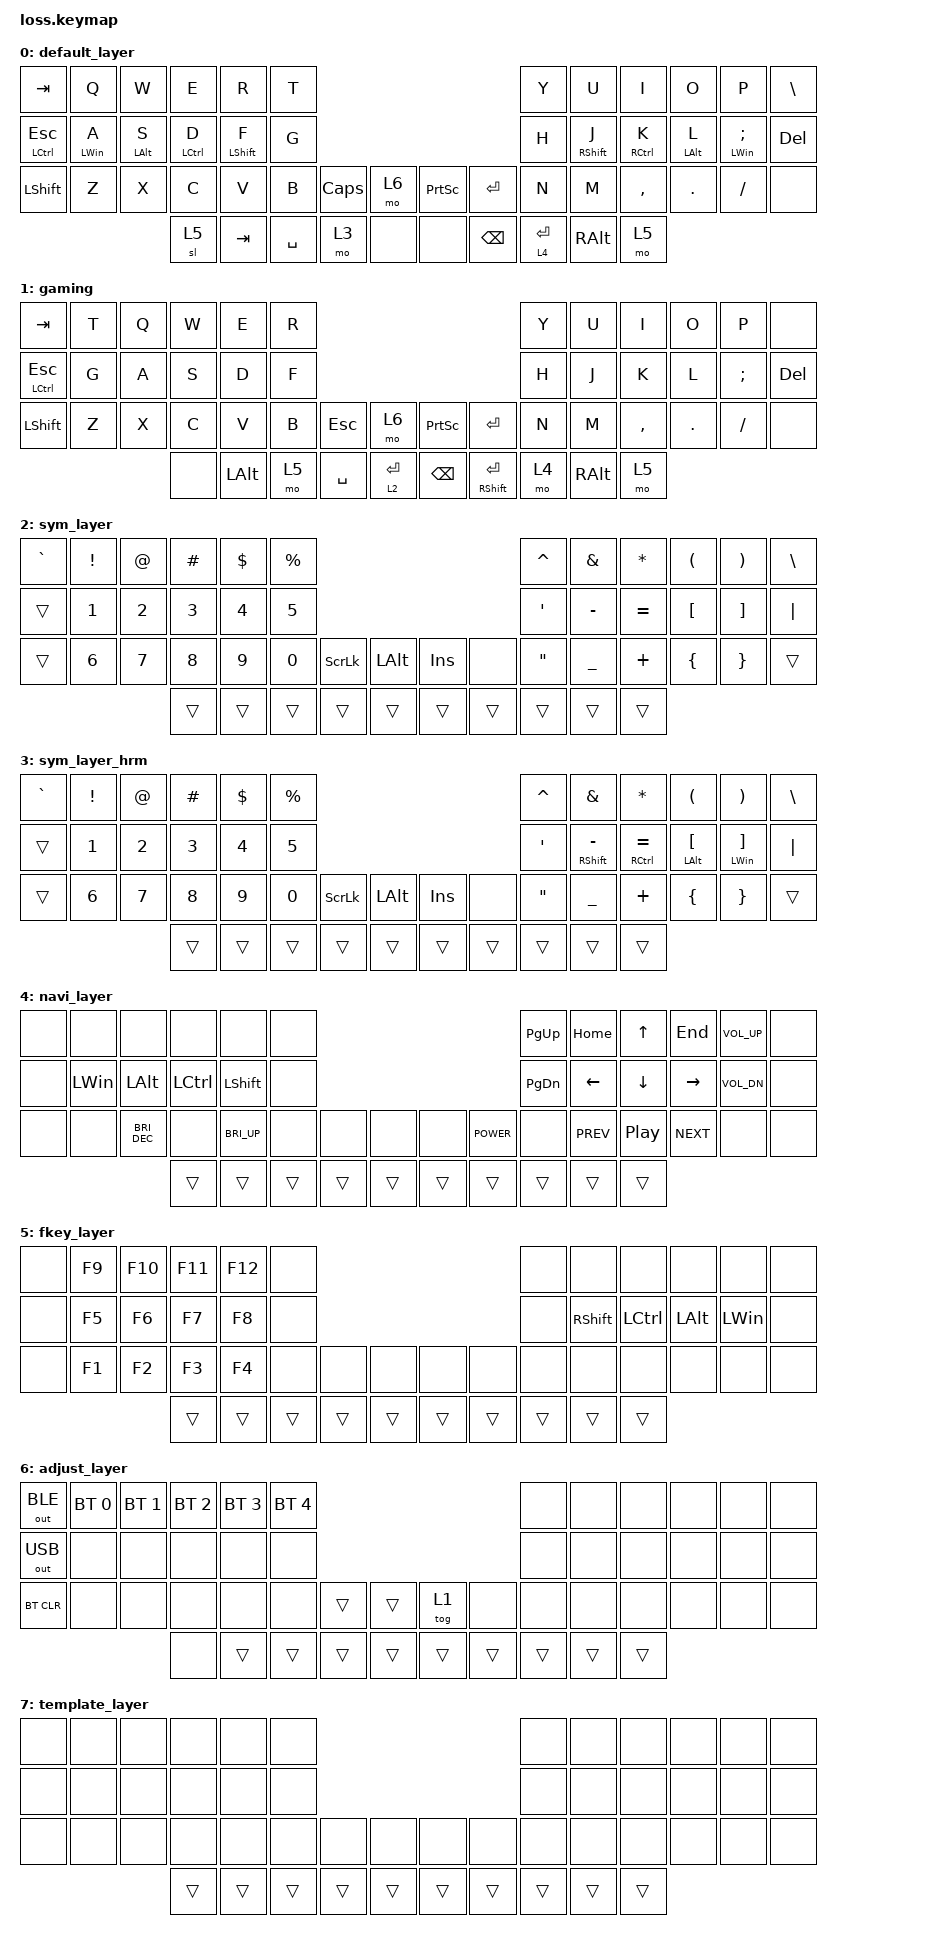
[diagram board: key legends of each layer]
#include <behaviors.dtsi>
#include <dt-bindings/zmk/bt.h>
#include <dt-bindings/zmk/keys.h>
#include <dt-bindings/zmk/outputs.h>

#define DEFAULT 0
#define TEST    1
#define SYM     2
#define NAVI    3
#define FKEYS   4
#define ADJUST  5

/ {
    behaviors {
        hm: homerow_mods {
            compatible = "zmk,behavior-hold-tap";
            #binding-cells = <2>;
            tapping-term-ms = <175>;    // <---[[moderate duration]]
            quick-tap-ms = <200>;
            flavor = "tap-preferred";
            bindings = <&kp>, <&kp>;
        };

        copy: copy {
            compatible = "zmk,behavior-tap-dance";
            #binding-cells = <0>;
            bindings = <&kp C>, <&kp LC(C)>;
        };

        paste: paste {
            compatible = "zmk,behavior-tap-dance";
            #binding-cells = <0>;
            bindings = <&kp V>, <&kp LC(V)>;
        };

        slow_hm: slow_hm {
            compatible = "zmk,behavior-hold-tap";
            #binding-cells = <2>;
            tapping-term-ms = <225>;
            quick-tap-ms = <225>;
            flavor = "tap-preferred";
            bindings = <&kp>, <&kp>;
        };

        lt_nav: lt_nav {
            compatible = "zmk,behavior-hold-tap";
            #binding-cells = <2>;
            tapping-term-ms = <200>;
            quick-tap-ms = <175>;
            flavor = "hold-preferred";
            bindings = <&mo>, <&kp>;
        };

        tap_dance_mod_tap: tap_dance_mod_tap {
            compatible = "zmk,behavior-tap-dance";
            #binding-cells = <0>;
            bindings = <&mo 2>, <&layer_modifier 2 LCTRL>;

            tapping-term-ms = <200>;
        };
    };

    macros {
        layer_modifier: layer_modifier {
            compatible = "zmk,behavior-macro-two-param";
            #binding-cells = <2>;
            bindings =
                <&macro_param_1to1 &mo MACRO_PLACEHOLDER &macro_param_2to1 &kp MACRO_PLACEHOLDER>,
                <&macro_pause_for_release>,
                <&macro_param_2to1 &kp MACRO_PLACEHOLDER &macro_param_1to1 &mo MACRO_PLACEHOLDER>;

            wait-ms = <0>;
            tap-ms = <0>;
        };
    };

    keymap {
        compatible = "zmk,keymap";

        default_layer {
            //  ┌╌╌╌╌╌╌┬╌╌╌╌╌╌┬╌╌╌╌╌╌┬╌╌╌╌╌╌┬╌╌╌╌╌╌┬╌╌╌╌╌╌┐                              ┌╌╌╌╌╌╌┬╌╌╌╌╌╌┬╌╌╌╌╌╌┬╌╌╌╌╌╌┬╌╌╌╌╌╌┬╌╌╌╌╌╌┐
            //  ┆ TAB  ┆  Q   ┆  W   ┆  E   ┆  R   ┆  T   ┆                              ┆  Y   ┆  U   ┆  I   ┆  O   ┆  P   ┆      ┆
            //  ┆      ┆      ┆      ┆      ┆      ┆      ┆                              ┆      ┆      ┆      ┆      ┆      ┆      ┆
            //  ├╌╌╌╌╌╌╔══════╦══════╦══════╦══════╗╌╌╌╌╌╌┤                              ├╌╌╌╌╌╌╔══════╦══════╦══════╦══════╗╌╌╌╌╌╌┤
            //  ┆ CTRL ║  A   ║  S   ║  D   ║  F   ║  G   ┆                              ┆  H   ║  J   ║  K   ║  L   ║  ;   ║ DEL  ┆
            //  ┆ ESC  ║      ║      ║      ║      ║      ┆                              ┆      ║      ║      ║      ║  :   ║      ┆
            //  ├╌╌╌╌╌╌╚══════╩══════╩══════╩══════╝╌╌╌╌╌╌┼╌╌╌╌╌╌┬╌╌╌╌╌╌┐  ┌╌╌╌╌╌╌┬╌╌╌╌╌╌┼╌╌╌╌╌╌╚══════╩══════╩══════╩══════╝╌╌╌╌╌╌┤
            //  ┆ SHIFT┆  Z   ┆  X   ┆  C   ┆  V   ┆  B   ┆CAPS  ┆ADJUST┆  ┆PRINT ┆  RET ┆  N   ┆  M   ┆  <   ┆  >   ┆  ?   ┆      ┆
            //  ┆      ┆      ┆      ┆      ┆      ┆      ┆  LOCK┆      ┆  ┆SCREEN┆      ┆      ┆      ┆  ,   ┆  .   ┆  /   ┆      ┆
            //  └╌╌╌╌╌╌┴╌╌╌╌╌╌┴╌╌╌╌╌╌┼╌╌╌╌╌╌┼╌╌╌╌╌╌┼╌╌╌╌╌╌┼╌╌╌╌╌╌┼╌╌╌╌╌╌┆  ┆╌╌╌╌╌╌┼╌╌╌╌╌╌┼╌╌╌╌╌╌┼╌╌╌╌╌╌┼╌╌╌╌╌╌┼╌╌╌╌╌╌┴╌╌╌╌╌╌┴╌╌╌╌╌╌┘
            //                       ┆ FKEYS┆  GUI ┆ LALT ┆ CTRL ┆  SYM ┆  ┆ BSPC ┆ SHIFT┆ NAVI ┆ RALT ┆ FKEYS┆
            //                       ┆      ┆      ┆ TAB  ┆ SPACE┆      ┆  ┆      ┆  RET ┆      ┆      ┆      ┆
            //                       └╌╌╌╌╌╌┴╌╌╌╌╌╌┴╌╌╌╌╌╌┴╌╌╌╌╌╌┴╌╌╌╌╌╌┘  └╌╌╌╌╌╌┴╌╌╌╌╌╌┴╌╌╌╌╌╌┴╌╌╌╌╌╌┴╌╌╌╌╌╌┘

            bindings = <
&kp TAB        &kp Q            &kp W                &kp E        &kp R         &kp T                                            &kp Y  &kp U         &kp I        &kp O                &kp P                    &kp BACKSLASH
&mt LCTRL ESC  &slow_hm LWIN A  &slow_hm LEFT_ALT S  &hm LCTRL D  &hm LSHIFT F  &kp G                                            &kp H  &hm RSHIFT J  &hm RCTRL K  &slow_hm LEFT_ALT L  &slow_hm LWIN SEMICOLON  &kp DEL
&kp LSHFT      &kp Z            &kp X                &kp C        &kp V         &kp B    &kp CLCK   &mo 6  &kp PSCRN  &kp RET    &kp N  &kp M         &kp COMMA    &kp DOT              &kp FSLH                 &none
                                                     &sl 5        &kp TAB       &kp SPACE  &mo 3  &none  &none   &kp BSPC   &lt_nav 4 ENTER  &kp RALT      &mo 5
            >;
        };

        gaming {
            //  ┌╌╌╌╌╌╌┬╌╌╌╌╌╌┬╌╌╌╌╌╌┬╌╌╌╌╌╌┬╌╌╌╌╌╌┬╌╌╌╌╌╌┐                              ┌╌╌╌╌╌╌┬╌╌╌╌╌╌┬╌╌╌╌╌╌┬╌╌╌╌╌╌┬╌╌╌╌╌╌┬╌╌╌╌╌╌┐
            //  ┆ TAB  ┆  T   ┆  Q   ┆  W   ┆  E   ┆  R   ┆                              ┆  Y   ┆  U   ┆  I   ┆  O   ┆  P   ┆      ┆
            //  ┆      ┆      ┆      ┆      ┆      ┆      ┆                              ┆      ┆      ┆      ┆      ┆      ┆      ┆
            //  ├╌╌╌╌╌╌╔══════╦══════╦══════╦══════╗╌╌╌╌╌╌┤                              ├╌╌╌╌╌╌╔══════╦══════╦══════╦══════╗╌╌╌╌╌╌┤
            //  ┆ CTRL ║  G   ║  A   ║  S   ║  D   ║  F   ┆                              ┆  H   ║  J   ║  K   ║  L   ║  ;   ║ DEL  ┆
            //  ┆ ESC  ║      ║      ║      ║      ║      ┆                              ┆      ║      ║      ║      ║  :   ║      ┆
            //  ├╌╌╌╌╌╌╚══════╩══════╩══════╩══════╝╌╌╌╌╌╌┼╌╌╌╌╌╌┬╌╌╌╌╌╌┐  ┌╌╌╌╌╌╌┬╌╌╌╌╌╌┼╌╌╌╌╌╌╚══════╩══════╩══════╩══════╝╌╌╌╌╌╌┤
            //  ┆ SHIFT┆  Z   ┆  X   ┆  C   ┆  V   ┆  B   ┆CAPS  ┆ADJUST┆  ┆PRINT ┆  RET ┆  N   ┆  M   ┆  <   ┆  >   ┆  ?   ┆      ┆
            //  ┆      ┆      ┆      ┆      ┆      ┆      ┆  LOCK┆      ┆  ┆SCREEN┆      ┆      ┆      ┆  ,   ┆  .   ┆  /   ┆      ┆
            //  └╌╌╌╌╌╌┴╌╌╌╌╌╌┴╌╌╌╌╌╌┼╌╌╌╌╌╌┼╌╌╌╌╌╌┼╌╌╌╌╌╌┼╌╌╌╌╌╌┼╌╌╌╌╌╌┆  ┆╌╌╌╌╌╌┼╌╌╌╌╌╌┼╌╌╌╌╌╌┼╌╌╌╌╌╌┼╌╌╌╌╌╌┼╌╌╌╌╌╌┴╌╌╌╌╌╌┴╌╌╌╌╌╌┘
            //                       ┆ FKEYS┆      ┆ LALT ┆ CTRL ┆  SYM ┆  ┆ BSPC ┆ SHIFT┆ NAVI ┆ RALT ┆ FKEYS┆
            //                       ┆      ┆      ┆      ┆      ┆  RET ┆  ┆      ┆  RET ┆      ┆      ┆      ┆
            //                       └╌╌╌╌╌╌┴╌╌╌╌╌╌┴╌╌╌╌╌╌┴╌╌╌╌╌╌┴╌╌╌╌╌╌┘  └╌╌╌╌╌╌┴╌╌╌╌╌╌┴╌╌╌╌╌╌┴╌╌╌╌╌╌┴╌╌╌╌╌╌┘

            bindings = <
&kp TAB        &kp T  &kp Q  &kp W  &kp E     &kp R                                                    &kp Y  &kp U     &kp I      &kp O    &kp P     &none
&mt LCTRL ESC  &kp G  &kp A  &kp S  &kp D     &kp F                                                    &kp H  &kp J     &kp K      &kp L    &kp SEMI  &kp DEL
&kp LSHFT      &kp Z  &kp X  &kp C  &kp V     &kp B  &kp ESCAPE  &mo 6      &kp PSCRN  &kp RET         &kp N  &kp M     &kp COMMA  &kp DOT  &kp FSLH  &none
                             &none  &kp LALT  &mo 5  &kp SPACE   &lt 2 RET  &kp BSPC   &mt RSHIFT RET  &mo 4  &kp RALT  &mo 5
            >;
        };

        sym_layer {
            //  ┌╌╌╌╌╌╌┬╌╌╌╌╌╌┬╌╌╌╌╌╌┬╌╌╌╌╌╌┬╌╌╌╌╌╌┬╌╌╌╌╌╌┐                              ┌╌╌╌╌╌╌┬╌╌╌╌╌╌┬╌╌╌╌╌╌┬╌╌╌╌╌╌┬╌╌╌╌╌╌┬╌╌╌╌╌╌┐
            //  ┆   ~  ┆  !   ┆  @   ┆  #   ┆  $   ┆  %   ┆                              ┆  ^   ┆  &   ┆  *   ┆  (   ┆  )   ┆  \   ┆
            //  ┆   `  ┆      ┆      ┆      ┆      ┆      ┆                              ┆      ┆      ┆      ┆      ┆      ┆      ┆
            //  ├╌╌╌╌╌╌╔══════╦══════╦══════╦══════╗╌╌╌╌╌╌┤                              ├╌╌╌╌╌╌╔══════╦══════╦══════╦══════╗╌╌╌╌╌╌┤
            //  ┆      ║      ║      ║      ║      ║      ┆                              ┆      ║      ║      ║      ║      ║      ┆
            //  ┆      ║  1   ║  2   ║  3   ║  4   ║  5   ┆                              ┆  '   ║  -   ║  =   ║  [   ║  ]   ║  |   ┆
            //  ├╌╌╌╌╌╌╚══════╩══════╩══════╩══════╝╌╌╌╌╌╌┼╌╌╌╌╌╌┬╌╌╌╌╌╌┐  ┌╌╌╌╌╌╌┬╌╌╌╌╌╌┼╌╌╌╌╌╌╚══════╩══════╩══════╩══════╝╌╌╌╌╌╌┤
            //  ┆      ┆      ┆      ┆      ┆      ┆      ┆SCROLL┆      ┆  ┆INSERT┆      ┆      ┆      ┆      ┆      ┆      ┆      ┆
            //  ┆      ┆  6   ┆  7   ┆  8   ┆  9   ┆  0   ┆  LOCK┆ LALT ┆  ┆      ┆      ┆  "   ┆  _   ┆  +   ┆  {   ┆  }   ┆      ┆
            //  └╌╌╌╌╌╌┴╌╌╌╌╌╌┴╌╌╌╌╌╌┼╌╌╌╌╌╌┼╌╌╌╌╌╌┼╌╌╌╌╌╌┼╌╌╌╌╌╌┼╌╌╌╌╌╌┆  ┆╌╌╌╌╌╌┼╌╌╌╌╌╌┼╌╌╌╌╌╌┼╌╌╌╌╌╌┼╌╌╌╌╌╌┼╌╌╌╌╌╌┴╌╌╌╌╌╌┴╌╌╌╌╌╌┘
            //                       ┆      ┆      ┆      ┆      ┆      ┆  ┆      ┆      ┆      ┆      ┆      ┆
            //                       ┆      ┆      ┆      ┆      ┆      ┆  ┆      ┆      ┆      ┆      ┆      ┆
            //                       └╌╌╌╌╌╌┴╌╌╌╌╌╌┴╌╌╌╌╌╌┴╌╌╌╌╌╌┴╌╌╌╌╌╌┘  └╌╌╌╌╌╌┴╌╌╌╌╌╌┴╌╌╌╌╌╌┴╌╌╌╌╌╌┴╌╌╌╌╌╌┘

            bindings = <
&kp GRAV  &kp EXCL  &kp AT  &kp HASH  &kp DLLR  &kp PRCNT                                          &kp CARET  &kp AMPS        &kp STAR   &kp LPAR  &kp RPAR  &kp BSLH
&trans    &kp N1    &kp N2  &kp N3    &kp N4    &kp N5                                             &kp SQT    &kp MINUS       &kp EQUAL  &kp LBKT  &kp RBKT  &kp PIPE
&trans    &kp N6    &kp N7  &kp N8    &kp N9    &kp N0     &kp SLCK  &kp LALT  &kp INSERT  &none   &kp DQT    &kp UNDERSCORE  &kp PLUS   &kp LBRC  &kp RBRC  &trans
                            &trans    &trans    &trans     &trans    &trans    &trans      &trans  &trans     &trans          &trans
            >;
        };

        sym_layer_hrm {
            bindings = <
&kp GRAV  &kp EXCL  &kp AT  &kp HASH  &kp DLLR  &kp PRCNT                                          &kp CARET  &kp AMPS               &kp STAR         &kp LPAR            &kp RPAR            &kp BSLH
&trans    &kp N1    &kp N2  &kp N3    &kp N4    &kp N5                                             &kp SQT    &hm RIGHT_SHIFT MINUS  &hm RCTRL EQUAL  &slow_hm LALT LBKT  &slow_hm LWIN RBKT  &kp PIPE
&trans    &kp N6    &kp N7  &kp N8    &kp N9    &kp N0     &kp SLCK  &kp LALT  &kp INSERT  &none   &kp DQT    &kp UNDERSCORE         &kp PLUS         &kp LBRC            &kp RBRC            &trans
                            &trans    &trans    &trans     &trans    &trans    &trans      &trans  &trans     &trans                 &trans
            >;
        };

        navi_layer {
            //  ┌╌╌╌╌╌╌┬╌╌╌╌╌╌┬╌╌╌╌╌╌┬╌╌╌╌╌╌┬╌╌╌╌╌╌┬╌╌╌╌╌╌┐                              ┌╌╌╌╌╌╌┬╌╌╌╌╌╌┬╌╌╌╌╌╌┬╌╌╌╌╌╌┬╌╌╌╌╌╌┬╌╌╌╌╌╌┐
            //  ┆      ┆      ┆      ┆      ┆      ┆      ┆                              ┆ PGUP ┆ HOME ┆  ⬆   ┆ END  ┆VOL UP┆      ┆
            //  ┆      ┆      ┆      ┆      ┆      ┆      ┆                              ┆      ┆      ┆      ┆      ┆      ┆      ┆
            //  ├╌╌╌╌╌╌╔══════╦══════╦══════╦══════╗╌╌╌╌╌╌┤                              ├╌╌╌╌╌╌╔══════╦══════╦══════╦══════╗╌╌╌╌╌╌┤
            //  ┆      ║ SHIFT║ CTRL ║ GUI  ║ ALT  ║      ┆                              ┆ PGDN ║  ⬅   ║  ⬇   ║  ➡   ║VOL DN║      ┆
            //  ┆      ║      ║      ║      ║      ║      ┆                              ┆      ║      ║      ║      ║      ║      ┆
            //  ├╌╌╌╌╌╌╚══════╩══════╩══════╩══════╝╌╌╌╌╌╌┼╌╌╌╌╌╌┬╌╌╌╌╌╌┐  ┌╌╌╌╌╌╌┬╌╌╌╌╌╌┼╌╌╌╌╌╌╚══════╩══════╩══════╩══════╝╌╌╌╌╌╌┤
            //  ┆      ┆      ┆      ┆BRIGHT┆BRIGHT┆      ┆      ┆      ┆  ┆      ┆      ┆      ┆MPREV ┆MPAUSE┆MNEXT ┆      ┆      ┆
            //  ┆      ┆      ┆      ┆  DOWN┆   UP ┆      ┆      ┆      ┆  ┆      ┆      ┆      ┆      ┆      ┆      ┆      ┆      ┆
            //  └╌╌╌╌╌╌┴╌╌╌╌╌╌┴╌╌╌╌╌╌┼╌╌╌╌╌╌┼╌╌╌╌╌╌┼╌╌╌╌╌╌┼╌╌╌╌╌╌┼╌╌╌╌╌╌┆  ┆╌╌╌╌╌╌┼╌╌╌╌╌╌┼╌╌╌╌╌╌┼╌╌╌╌╌╌┼╌╌╌╌╌╌┼╌╌╌╌╌╌┴╌╌╌╌╌╌┴╌╌╌╌╌╌┘
            //                       ┆      ┆      ┆      ┆      ┆      ┆  ┆      ┆      ┆      ┆      ┆      ┆
            //                       ┆      ┆      ┆      ┆      ┆      ┆  ┆      ┆      ┆      ┆      ┆      ┆
            //                       └╌╌╌╌╌╌┴╌╌╌╌╌╌┴╌╌╌╌╌╌┴╌╌╌╌╌╌┴╌╌╌╌╌╌┘  └╌╌╌╌╌╌┴╌╌╌╌╌╌┴╌╌╌╌╌╌┴╌╌╌╌╌╌┴╌╌╌╌╌╌┘

            bindings = <
&none  &none     &none                 &none      &none           &none                                        &kp PG_UP  &kp HOME    &kp UP    &kp END     &kp C_VOL_UP  &none
&none  &kp LWIN  &kp LEFT_ALT          &kp LCTRL  &kp LEFT_SHIFT  &none                                        &kp PG_DN  &kp LEFT    &kp DOWN  &kp RIGHT   &kp C_VOL_DN  &none
&none  &none     &kp C_BRIGHTNESS_DEC  &none      &kp C_BRI_UP    &none   &none   &none   &none   &kp C_POWER  &none      &kp C_PREV  &kp C_PP  &kp C_NEXT  &none         &none
                                       &trans     &trans          &trans  &trans  &trans  &trans  &trans       &trans     &trans      &trans
            >;
        };

        fkey_layer {
            //  ┌╌╌╌╌╌╌┬╌╌╌╌╌╌┬╌╌╌╌╌╌┬╌╌╌╌╌╌┬╌╌╌╌╌╌┬╌╌╌╌╌╌┐                              ┌╌╌╌╌╌╌┬╌╌╌╌╌╌┬╌╌╌╌╌╌┬╌╌╌╌╌╌┬╌╌╌╌╌╌┬╌╌╌╌╌╌┐
            //  ┆      ┆  F9  ┆ F10  ┆  F11 ┆ F12  ┆      ┆                              ┆      ┆      ┆      ┆      ┆      ┆      ┆
            //  ┆      ┆      ┆      ┆      ┆      ┆      ┆                              ┆      ┆      ┆      ┆      ┆      ┆      ┆
            //  ├╌╌╌╌╌╌╔══════╦══════╦══════╦══════╗╌╌╌╌╌╌┤                              ├╌╌╌╌╌╌╔══════╦══════╦══════╦══════╗╌╌╌╌╌╌┤
            //  ┆      ║  F5  ║  F6  ║  F7  ║  F8  ║      ┆                              ┆      ║ ALT  ║ GUI  ║ CTRL ║SHIFT ║      ┆
            //  ┆      ║      ║      ║      ║      ║      ┆                              ┆      ║      ║      ║      ║      ║      ┆
            //  ├╌╌╌╌╌╌╚══════╩══════╩══════╩══════╝╌╌╌╌╌╌┼╌╌╌╌╌╌┬╌╌╌╌╌╌┐  ┌╌╌╌╌╌╌┬╌╌╌╌╌╌┼╌╌╌╌╌╌╚══════╩══════╩══════╩══════╝╌╌╌╌╌╌┤
            //  ┆      ┆  F1  ┆  F2  ┆  F3  ┆  F4  ┆      ┆      ┆      ┆  ┆      ┆      ┆      ┆      ┆      ┆      ┆      ┆      ┆
            //  ┆      ┆      ┆      ┆      ┆      ┆      ┆      ┆      ┆  ┆      ┆      ┆      ┆      ┆      ┆      ┆      ┆      ┆
            //  └╌╌╌╌╌╌┴╌╌╌╌╌╌┴╌╌╌╌╌╌┼╌╌╌╌╌╌┼╌╌╌╌╌╌┼╌╌╌╌╌╌┼╌╌╌╌╌╌┼╌╌╌╌╌╌┆  ┆╌╌╌╌╌╌┼╌╌╌╌╌╌┼╌╌╌╌╌╌┼╌╌╌╌╌╌┼╌╌╌╌╌╌┼╌╌╌╌╌╌┴╌╌╌╌╌╌┴╌╌╌╌╌╌┘
            //                       ┆      ┆      ┆      ┆      ┆      ┆  ┆      ┆      ┆      ┆      ┆      ┆
            //                       ┆      ┆      ┆      ┆      ┆      ┆  ┆      ┆      ┆      ┆      ┆      ┆
            //                       └╌╌╌╌╌╌┴╌╌╌╌╌╌┴╌╌╌╌╌╌┴╌╌╌╌╌╌┴╌╌╌╌╌╌┘  └╌╌╌╌╌╌┴╌╌╌╌╌╌┴╌╌╌╌╌╌┴╌╌╌╌╌╌┴╌╌╌╌╌╌┘

            bindings = <
&none  &kp F9  &kp F10  &kp F11  &kp F12  &none                                   &none   &none       &none      &none         &none     &none
&none  &kp F5  &kp F6   &kp F7   &kp F8   &none                                   &none   &kp RSHIFT  &kp LCTRL  &kp LEFT_ALT  &kp LWIN  &none
&none  &kp F1  &kp F2   &kp F3   &kp F4   &none   &none   &none   &none   &none   &none   &none       &none      &none         &none     &none
                        &trans   &trans   &trans  &trans  &trans  &trans  &trans  &trans  &trans      &trans
            >;
        };

        adjust_layer {
            //  ┌╌╌╌╌╌╌┬╌╌╌╌╌╌┬╌╌╌╌╌╌┬╌╌╌╌╌╌┬╌╌╌╌╌╌┬╌╌╌╌╌╌┐                              ┌╌╌╌╌╌╌┬╌╌╌╌╌╌┬╌╌╌╌╌╌┬╌╌╌╌╌╌┬╌╌╌╌╌╌┬╌╌╌╌╌╌┐
            //  ┆  BLE ┆  BT0 ┆  BT1 ┆  BT2 ┆  BT3 ┆  BT4 ┆                              ┆      ┆      ┆      ┆      ┆      ┆      ┆
            //  ┆      ┆      ┆      ┆      ┆      ┆      ┆                              ┆      ┆      ┆      ┆      ┆      ┆      ┆
            //  ├╌╌╌╌╌╌╔══════╦══════╦══════╦══════╗╌╌╌╌╌╌┤                              ├╌╌╌╌╌╌╔══════╦══════╦══════╦══════╗╌╌╌╌╌╌┤
            //  ┆  USB ║      ║      ║      ║      ║      ┆                              ┆      ║      ║      ║      ║      ║      ┆
            //  ┆      ║      ║      ║      ║      ║      ┆                              ┆      ║      ║      ║      ║      ║      ┆
            //  ├╌╌╌╌╌╌╚══════╩══════╩══════╩══════╝╌╌╌╌╌╌┼╌╌╌╌╌╌┬╌╌╌╌╌╌┐  ┌╌╌╌╌╌╌┬╌╌╌╌╌╌┼╌╌╌╌╌╌╚══════╩══════╩══════╩══════╝╌╌╌╌╌╌┤
            //  ┆BT_CLR┆      ┆      ┆      ┆      ┆      ┆      ┆      ┆  ┆ TEST ┆      ┆      ┆      ┆      ┆      ┆      ┆      ┆
            //  ┆      ┆      ┆      ┆      ┆      ┆      ┆      ┆      ┆  ┆      ┆      ┆      ┆      ┆      ┆      ┆      ┆      ┆
            //  └╌╌╌╌╌╌┴╌╌╌╌╌╌┴╌╌╌╌╌╌┼╌╌╌╌╌╌┼╌╌╌╌╌╌┼╌╌╌╌╌╌┼╌╌╌╌╌╌┼╌╌╌╌╌╌┆  ┆╌╌╌╌╌╌┼╌╌╌╌╌╌┼╌╌╌╌╌╌┼╌╌╌╌╌╌┼╌╌╌╌╌╌┼╌╌╌╌╌╌┴╌╌╌╌╌╌┴╌╌╌╌╌╌┘
            //                       ┆      ┆      ┆      ┆      ┆      ┆  ┆      ┆      ┆      ┆      ┆      ┆
            //                       ┆      ┆      ┆      ┆      ┆      ┆  ┆      ┆      ┆      ┆      ┆      ┆
            //                       └╌╌╌╌╌╌┴╌╌╌╌╌╌┴╌╌╌╌╌╌┴╌╌╌╌╌╌┴╌╌╌╌╌╌┘  └╌╌╌╌╌╌┴╌╌╌╌╌╌┴╌╌╌╌╌╌┴╌╌╌╌╌╌┴╌╌╌╌╌╌┘

            bindings = <
&out OUT_BLE  &bt BT_SEL 0  &bt BT_SEL 1  &bt BT_SEL 2  &bt BT_SEL 3  &bt BT_SEL 4                                  &none   &none   &none   &none  &none  &none
&out OUT_USB  &none         &none         &none         &none         &none                                         &none   &none   &none   &none  &none  &none
&bt BT_CLR    &none         &none         &none         &none         &none         &trans  &trans  &tog 1  &none   &none   &none   &none   &none  &none  &none
                                          &none         &trans        &trans        &trans  &trans  &trans  &trans  &trans  &trans  &trans
            >;
        };

        template_layer {
            //  ┌╌╌╌╌╌╌╌╌╌╌╌╌╌╌╌╌╌╌╌╌╌╌╌╌╌╌╌╌╌╌╌╌╌╌╌╌╌╌╌╌╌┐                              ┌╌╌╌╌╌╌╌╌╌╌╌╌╌╌╌╌╌╌╌╌╌╌╌╌╌╌╌╌╌╌╌╌╌╌╌╌╌╌╌╌╌┐
            //  ┆      ┆      ┆      ┆      ┆      ┆      ┆                              ┆      ┆      ┆      ┆      ┆      ┆      ┆
            //  ┆      ┆      ┆      ┆      ┆      ┆      ┆                              ┆      ┆      ┆      ┆      ┆      ┆      ┆
            //  ├╌╌╌╌╌╌╔══════╦══════╦══════╦══════╗╌╌╌╌╌╌┤                              ├╌╌╌╌╌╌╔══════╦══════╦══════╦══════╗╌╌╌╌╌╌┤
            //  ┆      ║      ║      ║      ║      ║      ┆                              ┆      ║      ║      ║      ║      ║      ┆
            //  ┆      ║      ║      ║      ║      ║      ┆                              ┆      ║      ║      ║      ║      ║      ┆
            //  ├╌╌╌╌╌╌╚══════╩══════╩══════╩══════╝╌╌╌╌╌╌┼╌╌╌╌╌╌┬╌╌╌╌╌╌┐  ┌╌╌╌╌╌╌┬╌╌╌╌╌╌┼╌╌╌╌╌╌╚══════╩══════╩══════╩══════╝╌╌╌╌╌╌┤
            //  ┆      ┆      ┆      ┆      ┆      ┆      ┆      ┆      ┆  ┆      ┆      ┆      ┆      ┆      ┆      ┆      ┆      ┆
            //  ┆      ┆      ┆      ┆      ┆      ┆      ┆      ┆      ┆  ┆      ┆      ┆      ┆      ┆      ┆      ┆      ┆      ┆
            //  └╌╌╌╌╌╌┴╌╌╌╌╌╌┴╌╌╌╌╌╌┼╌╌╌╌╌╌┼╌╌╌╌╌╌┼╌╌╌╌╌╌┼╌╌╌╌╌╌┼╌╌╌╌╌╌┆  ┆╌╌╌╌╌╌┼╌╌╌╌╌╌┼╌╌╌╌╌╌┼╌╌╌╌╌╌┼╌╌╌╌╌╌┼╌╌╌╌╌╌┴╌╌╌╌╌╌┴╌╌╌╌╌╌┘
            //                       ┆      ┆      ┆      ┆      ┆      ┆  ┆      ┆      ┆      ┆      ┆      ┆
            //                       ┆      ┆      ┆      ┆      ┆      ┆  ┆      ┆      ┆      ┆      ┆      ┆
            //                       └╌╌╌╌╌╌┴╌╌╌╌╌╌┴╌╌╌╌╌╌┴╌╌╌╌╌╌┴╌╌╌╌╌╌┘  └╌╌╌╌╌╌┴╌╌╌╌╌╌┴╌╌╌╌╌╌┴╌╌╌╌╌╌┴╌╌╌╌╌╌┘

            bindings = <
&none  &none  &none  &none   &none   &none                                   &none   &none   &none   &none  &none  &none
&none  &none  &none  &none   &none   &none                                   &none   &none   &none   &none  &none  &none
&none  &none  &none  &none   &none   &none   &none   &none   &none   &none   &none   &none   &none   &none  &none  &none
                     &trans  &trans  &trans  &trans  &trans  &trans  &trans  &trans  &trans  &trans
            >;
        };
    };
};

/ {
    combos { compatible = "zmk,combos"; };
};
